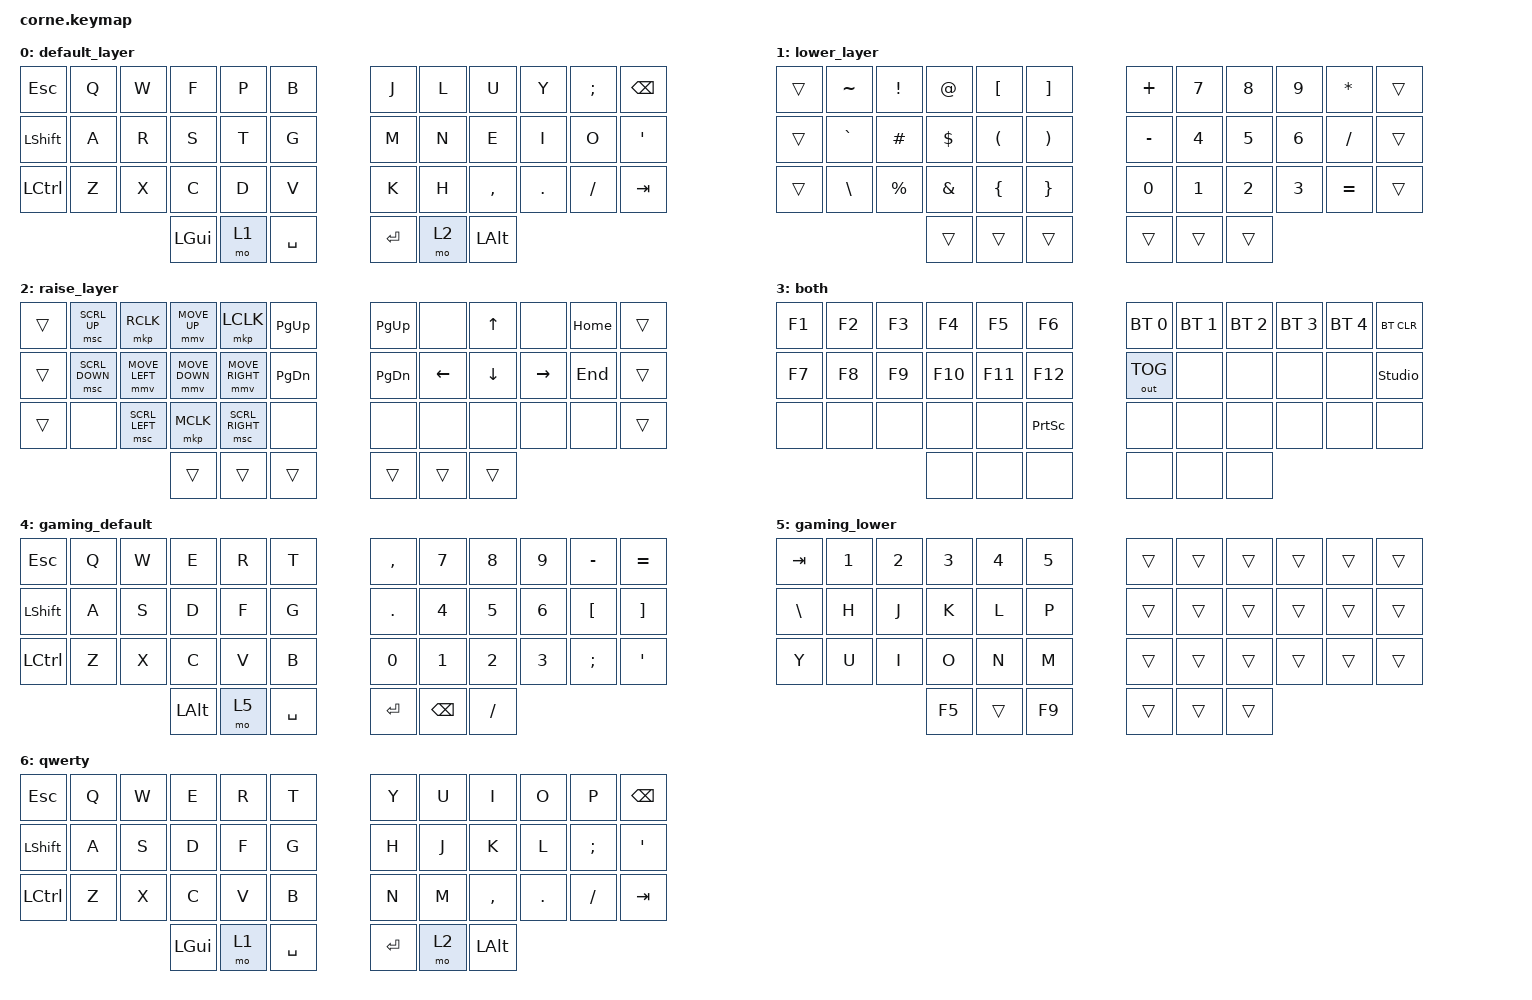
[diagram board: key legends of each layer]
/*
 * Copyright (c) 2020 The ZMK Contributors
 *
 * SPDX-License-Identifier: MIT
 */

#include <behaviors.dtsi>
#include <dt-bindings/zmk/bt.h>
#include <dt-bindings/zmk/keys.h>
#include <dt-bindings/zmk/outputs.h>
#include <dt-bindings/zmk/pointing.h>

/ {
    combos {
        compatible = "zmk,combos";

        vol_up {
            bindings = <&kp C_VOLUME_UP>;
            key-positions = <16 17>;
            layers = <0 6>;
        };

        vol_down {
            bindings = <&kp C_VOL_DN>;
            key-positions = <29 28>;
            layers = <0 6>;
        };

        next_track {
            bindings = <&kp C_NEXT>;
            key-positions = <4 5>;
            layers = <0 6>;
        };

        prev_track {
            bindings = <&kp C_PREVIOUS>;
            key-positions = <3 4>;
            layers = <0 6>;
        };

        play_pause {
            bindings = <&kp C_PLAY_PAUSE>;
            key-positions = <3 4 5>;
            layers = <0 6>;
        };

        mute {
            bindings = <&kp C_MUTE>;
            key-positions = <29 27 28>;
            layers = <0 6>;
        };

        gaming_toggle {
            bindings = <&tog 4>;
            key-positions = <38 37 36>;
            layers = <4 0>;
        };

        qwerty_toggle {
            bindings = <&tog 6>;
            key-positions = <39 40 41>;
            layers = <0 6>;
        };

        reset {
            bindings = <&sys_reset>;
            key-positions = <11 23 35>;
        };
    };

    keymap {
        compatible = "zmk,keymap";

        default_layer {
            // -----------------------------------------------------------------------------------------
            // |  TAB |  Q  |  W  |  E  |  R  |  T  |   |  Y  |  U   |  I  |  O  |  P  | BSPC |
            // | SHFT |  A  |  S  |  D  |  F  |  G  |   |  H  |  J   |  K  |  L  |  ;  | ENTR |
            // | CTRL |  Z  |  X  |  C  |  V  |  B  |   |  N  |  M   | ./, | '/" |  /* | EQU |
            //                    | GUI | LWR | SPC |   | SPC | L2   | L1  |

            bindings = <
&kp ESCAPE      &kp Q  &kp W  &kp F     &kp P  &kp B        &kp J      &kp L  &kp U         &kp Y    &kp SEMI  &kp BSPC
&kp LEFT_SHIFT  &kp A  &kp R  &kp S     &kp T  &kp G        &kp M      &kp N  &kp E         &kp I    &kp O     &kp APOS
&kp LCTRL       &kp Z  &kp X  &kp C     &kp D  &kp V        &kp K      &kp H  &kp COMMA     &kp DOT  &kp FSLH  &kp TAB
                              &kp LGUI  &mo 1  &kp SPACE    &kp ENTER  &mo 2  &kp LEFT_ALT
            >;
        };

        lower_layer {
            // -----------------------------------------------------------------------------------------
            // | SYSR |     |     |     |     |     |   |     |  1  |  2  |  3  |  0  |      |
            // |      |     |     | UP  |     |     |   |     |  4  |  5  |  6  |     |      |
            // |      |     | LFT | DWN | RGT |     |   |     |  7  |  8  |  9  |     |      |
            //                    |     |     | SPC |   | SPC |     |     |

            bindings = <
&trans  &kp TILDE      &kp EXCL     &kp AT      &kp LEFT_BRACKET      &kp RIGHT_BRACKET        &kp PLUS   &kp N7        &kp N8        &kp N9        &kp ASTRK  &trans
&trans  &kp GRAVE      &kp HASH     &kp DOLLAR  &kp LEFT_PARENTHESIS  &kp RIGHT_PARENTHESIS    &kp MINUS  &kp NUMBER_4  &kp NUMBER_5  &kp NUMBER_6  &kp SLASH  &trans
&trans  &kp BACKSLASH  &kp PERCENT  &kp AMPS    &kp LEFT_BRACE        &kp RIGHT_BRACE          &kp N0     &kp N1        &kp N2        &kp N3        &kp EQUAL  &trans
                                    &trans      &trans                &trans                   &trans     &trans        &trans
            >;
        };

        raise_layer {
            bindings = <
&trans  &msc SCRL_UP    &mkp RCLK       &mmv MOVE_UP    &mkp LCLK        &kp PAGE_UP      &kp PAGE_UP    &none           &kp UP_ARROW    &none      &kp HOME  &trans
&trans  &msc SCRL_DOWN  &mmv MOVE_LEFT  &mmv MOVE_DOWN  &mmv MOVE_RIGHT  &kp PAGE_DOWN    &kp PAGE_DOWN  &kp LEFT_ARROW  &kp DOWN_ARROW  &kp RIGHT  &kp END   &trans
&trans  &none           &msc SCRL_LEFT  &mkp MCLK       &msc SCRL_RIGHT  &none            &none          &none           &none           &none      &none     &trans
                                        &trans          &trans           &trans           &trans         &trans          &trans
            >;
        };

        both {
            bindings = <
&kp F1  &kp F2  &kp F3  &kp F4   &kp F5   &kp F6             &bt BT_SEL 0  &bt BT_SEL 1  &bt BT_SEL 2  &bt BT_SEL 3  &bt BT_SEL 4  &bt BT_CLR
&kp F7  &kp F8  &kp F9  &kp F10  &kp F11  &kp F12            &out OUT_TOG  &none         &none         &none         &none         &studio_unlock
&none   &none   &none   &none    &none    &kp PRINTSCREEN    &none         &none         &none         &none         &none         &none
                        &none    &none    &none              &none         &none         &none
            >;
        };

        gaming_default {
            bindings = <
&kp ESC    &kp Q  &kp W  &kp E         &kp R  &kp T        &kp COMMA  &kp N7    &kp N8    &kp N9  &kp MINUS  &kp EQUAL
&kp LSHFT  &kp A  &kp S  &kp D         &kp F  &kp G        &kp DOT    &kp N4    &kp N5    &kp N6  &kp LBKT   &kp RBKT
&kp LCTRL  &kp Z  &kp X  &kp C         &kp V  &kp B        &kp N0     &kp N1    &kp N2    &kp N3  &kp SEMI   &kp APOS
                         &kp LEFT_ALT  &mo 5  &kp SPACE    &kp ENTER  &kp BSPC  &kp FSLH
            >;
        };

        gaming_lower {
            bindings = <
&kp TAB   &kp NUMBER_1  &kp NUMBER_2  &kp NUMBER_3  &kp NUMBER_4  &kp N5    &trans  &trans  &trans  &trans  &trans  &trans
&kp BSLH  &kp H         &kp J         &kp K         &kp L         &kp P     &trans  &trans  &trans  &trans  &trans  &trans
&kp Y     &kp U         &kp I         &kp O         &kp N         &kp M     &trans  &trans  &trans  &trans  &trans  &trans
                                      &kp F5        &trans        &kp F9    &trans  &trans  &trans
            >;
        };

        qwerty {
            bindings = <
&kp ESC    &kp Q  &kp W  &kp E     &kp R  &kp T        &kp Y      &kp U  &kp I      &kp O    &kp P     &kp BSPC
&kp LSHFT  &kp A  &kp S  &kp D     &kp F  &kp G        &kp H      &kp J  &kp K      &kp L    &kp SEMI  &kp APOS
&kp LCTRL  &kp Z  &kp X  &kp C     &kp V  &kp B        &kp N      &kp M  &kp COMMA  &kp DOT  &kp FSLH  &kp TAB
                         &kp LGUI  &mo 1  &kp SPACE    &kp ENTER  &mo 2  &kp LALT
            >;
        };
    };

    conditional_layers {
        compatible = "zmk,conditional-layers";

        both {
            if-layers = <1 2>;
            then-layer = <3>;
        };
    };
};

//For new Layers
// -----------------------------------------------------------------------------------------
// |      |     |     |     |     |     |   |     |     |     |     |     |      |
// |      |     |     |     |     |     |   |     |     |     |     |     |      |
// |      |     |     |     |     |     |   |     |     |     |     |     |      |
//                    |     |     |     |   |     |     |     |
